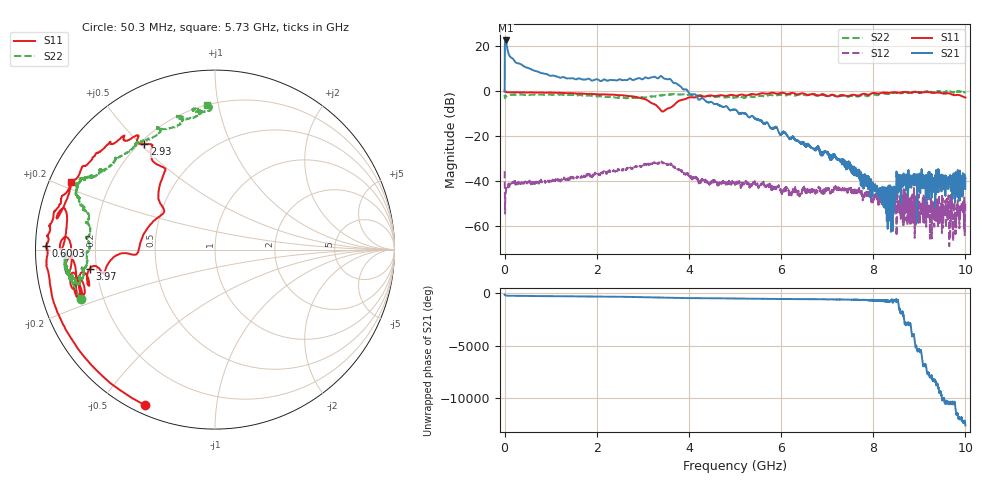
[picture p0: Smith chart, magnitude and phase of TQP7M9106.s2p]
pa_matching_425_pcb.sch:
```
<Qucs Schematic 0.0.20>
<Properties>
  <View=155,10,2771,2831,0.583748,0,60>
  <Grid=10,10,1>
  <DataSet=uhf-tx.dat>
  <DataDisplay=uhf-tx.dpl>
  <OpenDisplay=1>
  <Script=uhf-tx.m>
  <RunScript=0>
  <showFrame=0>
  <FrameText0=Title>
  <FrameText1=Drawn By:>
  <FrameText2=Date:>
  <FrameText3=Revision:>
</Properties>
<Symbol>
</Symbol>
<Components>
  <GND *51 5 910 460 0 0 0 0>
  <Pac P10 1 770 460 18 -26 0 1 "5" 1 "50 Ohm" 1 "-100 dBm" 0 "2220 MHz" 0 "26.85" 0>
  <GND *52 5 770 530 0 0 0 0>
  <Pac P11 1 1050 460 18 -26 0 1 "6" 1 "50 Ohm" 1 "-100 dBm" 0 "2220 MHz" 0 "26.85" 0>
  <GND *53 5 1050 530 0 0 0 0>
  <SPfile PA2 1 910 430 -26 -38 0 0 "TQP7M9106.s2p" 0 "rectangular" 0 "linear" 0 "open" 0 "2" 0>
  <GND *54 5 1510 1210 0 0 0 0>
  <C C23 1 1460 1150 -26 17 0 0 "100 pF" 1 "" 0 "neutral" 0>
  <C C24 1 1460 1090 -26 17 0 0 "1 nF" 1 "" 0 "neutral" 0>
  <C C25 1 1460 1020 -26 17 0 0 "10 uF" 1 "" 0 "neutral" 0>
  <SPfile PA3 1 1250 1330 -26 -38 0 0 "TQP7M9106.s2p" 0 "rectangular" 0 "linear" 0 "open" 0 "2" 0>
  <L L18 1 1390 1250 10 -26 0 1 "18 nH" 1 "" 0>
  <MLIN MS1 1 1160 1330 -26 -91 1 0 "FR4_elecrow" 1 "0.32 mm" 1 "0.78 mm" 1 "Hammerstad" 0 "Kirschning" 0 "26.85" 0>
  <MVIA MS3 1 1030 1540 20 0 0 0 "FR4_elecrow" 1 "0.4 mm" 1 "26.85" 0>
  <MLIN MS5 1 790 1330 -26 -91 0 2 "FR4_elecrow" 1 "0.32 mm" 1 "1.8 mm" 1 "Hammerstad" 0 "Kirschning" 0 "26.85" 0>
  <MLIN MS2 1 1010 1410 -159 -26 1 1 "FR4_elecrow" 1 "0.32 mm" 1 "1.064 mm" 1 "Hammerstad" 0 "Kirschning" 0 "26.85" 0>
  <MVIA MS14 1 1770 1540 20 0 0 0 "FR4_elecrow" 1 "0.4 mm" 1 "26.85" 0>
  <MLIN MS8 1 1490 1330 -33 24 1 2 "FR4_elecrow" 1 "0.32 mm" 1 "1.115 mm" 1 "Hammerstad" 0 "Kirschning" 0 "26.85" 0>
  <MLIN MS7 1 1340 1330 -41 23 1 2 "FR4_elecrow" 1 "0.32 mm" 1 "1.7 mm" 1 "Hammerstad" 0 "Kirschning" 0 "26.85" 0>
  <MLIN MS6 1 620 1330 -26 -91 0 2 "FR4_elecrow" 1 "0.32 mm" 1 "3.7 mm" 1 "Hammerstad" 0 "Kirschning" 0 "26.85" 0>
  <SUBST FR4_elecrow 1 370 310 -30 24 0 0 "4.3" 1 "0.18mm" 1 "0.035 mm" 1 "0.015" 1 "1.72e-8" 1 "0" 1>
  <.Opt Opt1 0 340 690 0 45 0 0 "Sim=SP1" 0 "DE=8|700|2|50|0.85|1|3|1e-6|10|100" 0 "Var=L1|yes|1e-09|1e-9|20e-9|LIN_DOUBLE" 0 "Var=L2|yes|1e-09|1e-9|20e-9|LIN_DOUBLE" 0 "Var=C1|yes|1e-12|0.5e-12|150e-12|LIN_DOUBLE" 0 "Var=C2|yes|1e-12|0.5e-12|150e-12|LIN_DOUBLE" 0 "Goal=input_rl|GE|-10" 0 "Goal=output_rl|GE|-10" 0 "Goal=gain|GE|23" 0>
  <MLIN MS11 1 2090 1330 -54 -84 0 0 "FR4_elecrow" 1 "0.32 mm" 1 "1.485 mm" 1 "Hammerstad" 0 "Kirschning" 0 "26.85" 0>
  <MLIN MS4 1 940 1330 -26 -91 0 2 "FR4_elecrow" 1 "0.32 mm" 1 "1.064 mm" 1 "Hammerstad" 0 "Kirschning" 0 "26.85" 0>
  <GND *67 5 550 1540 0 0 0 0>
  <Pac P13 1 550 1470 18 -26 0 1 "3" 1 "50 Ohm" 1 "0 dBm" 0 "1 GHz" 0 "26.85" 0>
  <GND *68 5 2130 1530 0 0 0 0>
  <Pac P14 1 2130 1450 18 -26 0 1 "4" 1 "50 Ohm" 1 "-100 dBm" 0 "1 GHz" 0 "26.85" 0>
  <MLIN MS9 1 1690 1330 -28 -92 1 0 "FR4_elecrow" 1 "0.32 mm" 1 "2.225 mm" 1 "Hammerstad" 0 "Kirschning" 0 "26.85" 0>
  <MLIN MS13 1 1750 1410 28 -26 0 1 "FR4_elecrow" 1 "0.32 mm" 1 "1.056 mm" 1 "Hammerstad" 0 "Kirschning" 0 "26.85" 0>
  <MLIN MS12 1 1940 1330 -54 -84 0 0 "FR4_elecrow" 1 "0.32 mm" 1 "2.236 mm" 1 "Hammerstad" 0 "Kirschning" 0 "26.85" 0>
  <GND *62 5 1250 1420 0 0 0 0>
  <C C36 1 1848 1330 -26 17 0 0 "3.3 pF" 1 "" 0 "neutral" 0>
  <Eqn Eqn7 1 370 530 -31 19 0 0 "S43_dB=dB(S[4,3])" 1 "y=-10*dB(S[4,3])/dB(S[4,3])" 1 "S33_dB=dB(S[3,3])" 1 "S44_dB=dB(S[4,4])" 1 "S34_dB=dB(S[3,4])" 1 "yes" 0>
  <Eqn Eqn8 1 370 790 -31 15 0 0 "input_rl=max(dB(S[3,3]), 400e06:440e06)" 1 "output_rl=max(dB(S[4,4]), 400e06:440e06)" 1 "gain=min(dB(S[4,3]),400e06:440e06)" 1 "yes" 0>
  <L L38 1 1010 1490 5 -20 0 1 "3.2nH" 1 "" 0>
  <L L28 1 870 1330 -26 10 0 0 "68 nH" 1 "" 0>
  <C C38 1 1090 1330 -26 17 0 0 "62 pF" 1 "" 0 "neutral" 0>
  <L L29 1 2020 1330 -26 10 0 0 "47 nH" 1 "" 0>
  <C C35 1 710 1330 -26 17 0 0 "2pF" 1 "" 0 "neutral" 0>
  <L L39 1 1750 1500 10 -26 0 1 "8.2nH" 1 "" 0>
  <.SP SP1 1 350 50 0 91 0 0 "log" 1 "300MHz" 1 "600MHz" 1 "400" 1 "no" 0 "1" 0 "2" 0 "no" 0 "no" 0>
  <C C39 1 1600 1330 -20 -53 0 2 "24 pF" 1 "" 0 "neutral" 0>
</Components>
<Wires>
  <770 490 770 530 "" 0 0 0 "">
  <1050 490 1050 530 "" 0 0 0 "">
  <940 430 1050 430 "" 0 0 0 "">
  <770 430 880 430 "" 0 0 0 "">
  <1510 1180 1510 1210 "" 0 0 0 "">
  <1430 1020 1430 1090 "" 0 0 0 "">
  <1490 1180 1510 1180 "" 0 0 0 "">
  <1490 1020 1490 1090 "" 0 0 0 "">
  <1430 1150 1430 1180 "" 0 0 0 "">
  <1490 1150 1490 1180 "" 0 0 0 "">
  <1430 1090 1430 1150 "" 0 0 0 "">
  <1490 1090 1490 1150 "" 0 0 0 "">
  <1390 1180 1430 1180 "" 0 0 0 "">
  <1390 1180 1390 1220 "" 0 0 0 "">
  <1390 1280 1390 1330 "" 0 0 0 "">
  <1190 1330 1220 1330 "" 0 0 0 "">
  <1010 1330 1010 1380 "" 0 0 0 "">
  <1390 1330 1460 1330 "" 0 0 0 "">
  <1280 1330 1310 1330 "" 0 0 0 "">
  <1370 1330 1390 1330 "" 0 0 0 "">
  <2130 1330 2130 1420 "" 0 0 0 "">
  <2120 1330 2130 1330 "" 0 0 0 "">
  <550 1330 590 1330 "" 0 0 0 "">
  <550 1330 550 1440 "" 0 0 0 "">
  <970 1330 1010 1330 "" 0 0 0 "">
  <550 1500 550 1540 "" 0 0 0 "">
  <2130 1480 2130 1530 "" 0 0 0 "">
  <1720 1330 1750 1330 "" 0 0 0 "">
  <1750 1330 1750 1380 "" 0 0 0 "">
  <1250 1360 1250 1420 "" 0 0 0 "">
  <1878 1330 1910 1330 "" 0 0 0 "">
  <1750 1330 1818 1330 "" 0 0 0 "">
  <1120 1330 1130 1330 "" 0 0 0 "">
  <1010 1330 1060 1330 "" 0 0 0 "">
  <1630 1330 1660 1330 "" 0 0 0 "">
  <1520 1330 1570 1330 "" 0 0 0 "">
  <740 1330 760 1330 "" 0 0 0 "">
  <650 1330 680 1330 "" 0 0 0 "">
  <1010 1440 1010 1460 "" 0 0 0 "">
  <1010 1520 1010 1540 "" 0 0 0 "">
  <900 1330 910 1330 "" 0 0 0 "">
  <820 1330 840 1330 "" 0 0 0 "">
  <1750 1440 1750 1470 "" 0 0 0 "">
  <1750 1530 1750 1540 "" 0 0 0 "">
  <2050 1330 2060 1330 "" 0 0 0 "">
  <1970 1330 1990 1330 "" 0 0 0 "">
</Wires>
<Diagrams>
  <Smith 1390 780 605 605 3 #c0c0c0 1 00 1 0 1 1 1 0 4 1 1 0 1 1 315 0 225 "" "" "" "">
	<"S[5,5]" #0000ff 2 3 0 0 0>
	  <Mkr 4.10133e+08 -269 -247 3 0 0 1>
	<"S[6,6]" #ff0000 2 3 0 0 0>
	  <Mkr 4.10133e+08 -68 0 3 0 0 1>
  </Smith>
  <Smith 450 2213 572 572 3 #c0c0c0 1 00 1 0 1 1 1 0 4 1 1 0 1 1 315 0 225 "" "" "" "">
	<"S[3,3]" #00007f 2 3 0 0 0>
	  <Mkr 4.1732e+08 646 -83 3 0 0 1>
	<"S[4,4]" #aa0000 2 3 0 0 0>
	  <Mkr 4.1732e+08 618 -281 3 0 0 1>
  </Smith>
  <Tab 346 966 261 70 3 #c0c0c0 1 00 1 0 1 1 1 0 1 1 1 0 1 1 315 0 225 "" "" "" "">
	<"gain" #0000ff 0 3 1 0 0>
	<"input_rl" #0000ff 0 3 1 0 0>
	<"output_rl" #0000ff 0 3 1 0 0>
  </Tab>
  <Rect 1340 2179 1262 374 3 #c0c0c0 1 00 0 3e+08 1e+07 6e+08 1 -21.3916 5 1.83432 1 -1 0.2 1 315 0 225 "" "" "" "">
	<"S33_dB" #00007f 2 3 0 0 0>
	<"S44_dB" #aa0000 2 3 0 0 0>
	<"y" #000000 2 3 0 2 0>
  </Rect>
  <Tab 260 2811 632 521 3 #c0c0c0 1 00 1 197 1 1 1 0 1 1 1 0 1 400 315 0 225 "" "" "" "">
	<"S[3,3]" #0000ff 0 3 0 0 0>
	<"S[4,4]" #0000ff 0 3 0 0 0>
	<"S[4,3]" #0000ff 0 3 0 0 0>
	<"S[3,4]" #0000ff 0 3 0 0 0>
  </Tab>
  <Rect 1090 2699 903 409 3 #c0c0c0 1 00 0 3.8e+08 2e+07 4.4e+08 0 22 0.5 28 1 -1 0.2 1 315 0 225 "" "" "" "">
	<"S43_dB" #0000ff 2 3 0 0 0>
  </Rect>
</Diagrams>
<Paintings>
  <Rectangle 710 30 1390 850 #00aa00 2 2 #55ffff 5 0>
  <Text 850 940 25 #000000 0 "Matching in final board">
</Paintings>
```
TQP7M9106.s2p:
! TriQuint Semiconductor
! TQP7M9106 Power Amplifier
! 24-pin QFN Package
! The data is for the unmatched device in a 50 Ohm system, 2-port file de-embedded to the device leads.
! Device bias: +5V V @ 455 mA Icq
! Temperature: 25C
!  Port 1 corresponds to Pins 4 and 5 on TQP7M9106 (RF input)
!  Port 2 corresponds to Pins 14, 15 and 16 on TQP7M9106 (RF output)
! All data in (Magnitude/Angle) format
! freq-unit  param-type  data-format  keyword  impedance-ohms
! GHz		S-param		Mag/Angle		50 Ohms
# Hz S dB R 50
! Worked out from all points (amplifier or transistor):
!   2001 points, 300 kHz to 10 GHz, reference 50 ohm
!   highest |S21| = 22.6 dB at 20.3 MHz (marker M1)
!   |S21| within 3 dB of that: 5.246 MHz to 51.88 MHz (46.63 MHz wide, 163 % of centre)
!   unconditionally stable (mu >= 1): 991.8 MHz to 9.39 GHz; 9.42 GHz to 9.629 GHz; 9.631 GHz to end of sweep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
!   at 1.665 GHz: K = 1.49, MAG = 17.7 dB, |S12| = -38.3 dB
!   at 5 GHz: K = 24.78, MAG = -0.7 dB, |S12| = -40.6 dB
!   at 10 GHz: K = 576.91, MAG = -24.8 dB, |S12| = -50.3 dB
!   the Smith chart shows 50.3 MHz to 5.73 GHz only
!   S11 on the Smith chart (normalised r, x): 50.3 MHz: 0.04, -0.65; 600.3 MHz: 0.03, +0.01; 2.93 GHz: 0.22, +0.51; 3.97 GHz: 0.17, -0.07; 5.73 GHz: 0.06, +0.22
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300000  0.02 -0.3  -0.25 -105.6  -35.69 -161.7  -1.59 -2.3
2.02994e7  -0.25 -62.2  22.62 174.5  -46.84 68.6  -2.65 -133.8
5.02985e7  -0.44 -114.2  19.78 144.7  -42.10 39.1  -1.98 -159.9
8.02976e7  -0.52 -137.5  17.16 138.8  -41.42 25.2  -1.66 -167.6
2.052938e8  -0.51 -164.9  13.73 131.6  -40.91 3.7  -1.58 -175.5
6.00282e8  -0.53 178.7  9.50 112.3  -41.24 0.8  -1.56 -176.2
2.930212e9  -3.01 123.8  5.80 16.0  -33.52 -63.6  -2.83 168.2
3.970181e9  -3.02 -171.3  0.25 -85.5  -36.93 -178.0  -1.66 151.9
5.00015e9  -2.03 -167.4  -8.19 -121.3  -40.58 127.3  -2.93 117.5
5.730128e9  -1.06 155.0  -14.97 -165.5  -42.78 68.9  -1.84 93.0
1e10  -2.83 69.8  -38.69 -5.2  -50.33 23.1  -0.39 134.7
